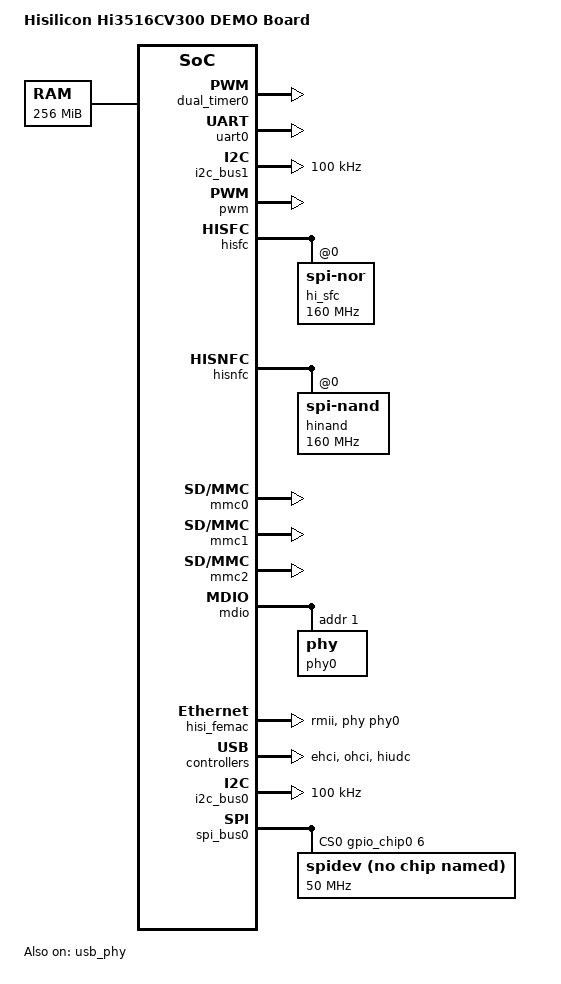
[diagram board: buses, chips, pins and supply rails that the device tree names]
/*
 * Copyright (c) 2016 HiSilicon Technologies Co., Ltd.
 *
 * This program is free software; you can redistribute  it and/or modify it
 * under  the terms of  the GNU General Public License as published by the
 * Free Software Foundation;  either version 2 of the  License, or (at your
 * option) any later version.
 *
 * This program is distributed in the hope that it will be useful,
 * but WITHOUT ANY WARRANTY; without even the implied warranty of
 * MERCHANTABILITY or FITNESS FOR A PARTICULAR PURPOSE. See the
 * GNU General Public License for more details.
 *
 * You should have received a copy of the GNU General Public License
 * along with this program.  If not, see <http://www.gnu.org/licenses/>.
 *
 */


/dts-v1/;
#include "hi3516cv300.dtsi"

/ {
	model = "Hisilicon Hi3516CV300 DEMO Board";
	compatible = "hisilicon,hi3516cv300";

	memory {
		device_type = "memory";
		reg = <0x80000000 0x10000000>;
	};
};

&dual_timer0 {
	status = "okay";
};

&uart0 {
	status = "okay";
};

&i2c_bus1 {
	status = "okay";
	clock-frequency = <100000>;
	pinctrl-names = "default";
	pinctrl-0 = <&i2c1_pmux &i2c1_pconf>;
};

&spi_bus1{
	status = "disabled";
	num-cs = <2>;
	cs-gpios = <&gpio_chip5 3 0>, <&gpio_chip5 4 0>;
	pinctrl-names = "default";
	pinctrl-0 = <&spi1_pmux &spi1_pconf1 &spi1_pconf2 &spi1_pconf3>;

	spidev@0 {
		compatible = "rohm,dh2228fv";
		reg = <0>;
		pl022,interface = <0>;
		pl022,com_mode = <0>;
		spi-max-frequency = <50000000>;
	};

	spidev@1 {
		compatible = "rohm,dh2228fv";
		reg = <1>;
		pl022,interface = <0>;
		pl022,com_mode = <0>;
		spi-max-frequency = <50000000>;
	};
};

&pwm {
	status = "okay";
	pinctrl-names = "default";
	pinctrl-0 = <&pwm_pmux>;
};

&hisfc {
	assigned-clocks = <&crg_ctrl HI3516CV300_FMC_CLK>;
	assigned-clock-rates = <24000000>;

	hi_sfc {
		compatible = "jedec,spi-nor";
		reg = <0>;
		spi-max-frequency = <160000000>;
		m25p,fast-read;
	};
};

&hisnfc {
	assigned-clocks = <&crg_ctrl HI3516CV300_FMC_CLK>;
	assigned-clock-rates = <83300000>;

	hinand {
		compatible = "jedec,spi-nand";
		reg = <0>;
		spi-max-frequency = <160000000>;
	};
};

&mmc0 {
	status = "okay";
};

&mmc1 {
	status = "okay";
};

&mmc2 {
	status = "okay";
};

&mdio {
	phy0: phy@1 {
		reg = <1>;
	};
};

&hisi_femac {
	mac-address = [00 00 00 00 00 00];
	phy-mode = "rmii";
	phy-handle = <&phy0>;
	hisilicon,phy-reset-delays-us = <10000 10000 150000>;
};

&usb_phy {
	status = "okay";
};

&ehci {
	status = "okay";
};

&ohci {
	status = "okay";
};

&hiudc {
	status = "okay";
};

&hidmac {
	status = "okay";
};

&dmac {
	status = "disabled";
};

&gpio_chip0 {
	status = "okay";
};

&gpio_chip1 {
	status = "okay";
};

&gpio_chip2 {
	status = "okay";
};

&gpio_chip3 {
	status = "okay";
};

&gpio_chip4 {
	status = "okay";
};

&gpio_chip5 {
	status = "okay";
};

&gpio_chip6 {
	status = "okay";
};

&gpio_chip7 {
	status = "okay";
};

&gpio_chip8 {
	status = "okay";
};

&pmux {
	i2c0_pmux: i2c0_pmux {
		pinctrl-single,pins = <
			0x2c 0x3	/*I2C0_SDA*/
			0x30 0x3	/*I2C0_SCL*/
		>;
	};

	i2c1_pmux: i2c1_pmux {
		pinctrl-single,pins = <
			0x20 0x1	/*I2C1_SDA*/
			0x24 0x1	/*I2C1_SCL*/
		>;
	};

	spi0_pmux: spi0_pmux {
		pinctrl-single,pins = <
			0x28 0x1	/*SPI0_SDI*/
			0x2c 0x1	/*SPI0_SDO*/
			0x30 0x1	/*SPI0_SCLK*/
			0x34 0x1	/*SPI0_CSN*/
		>;
	};

	spi1_pmux: spi1_pmux {
		pinctrl-single,pins = <
			0xc4 0x1	/*SPI1_CSN1*/
			0xc8 0x1	/*SPI1_CSN0*/
			0xcc 0x1	/*SPI1_SDO*/
			0xd0 0x1	/*SPI1_SDI*/
			0xd4 0x1	/*SPI1_SCLK*/
		>;
	};

	sensor_pmux: sensor_pmux {
		pinctrl-single,pins = <
			0x38 0x1	/*SENSOR_RSTN*/
			0x3c 0x1	/*SENSOR_CLK*/
		>;
	};

	spi_3wire_pmux: spi_3wire_pmux{
		pinctrl-single,pins = <
			0x2c 0x2	/*SPI_3LINE_SDATA*/
			0x30 0x2	/*SPI_3LINE_SCLK*/
			0x34 0x2	/*SPI_3LINE_CSN*/
		>;
	};

	vi_flash_trig_pmux: vi_flash_trig_pmux {
		pinctrl-single,pins = <
			0x1c 0x1	/*FLASH_TRIG*/
		>;
	};

	vi_shutter_trig_pmux: vi_shutter_trig_pmux {
		pinctrl-single,pins = <
			0x18 0x1	/*SHUTTER_TRIG*/
		>;
	};

	vi_bt1120_pmux: vi_bt1120_pmux{
		pinctrl-single,pins = <
			0x40 0x1	/*VI_DATA13*/
			0x44 0x1	/*VI_DATA10*/
			0x48 0x1	/*VI_DATA12*/
			0x4c 0x1	/*VI_DATA11*/
			0x50 0x1	/*VI_DATA9*/
			0x54 0x1	/*VI_DATA14*/
			0x58 0x1	/*VI_DATA15*/
			0x5c 0x1	/*VI_VS*/
			0x60 0x1	/*VI_HS*/
		>;
	};

	sensor_dc_pmux: sensor_dc_pmux{
		pinctrl-single,pins = <
			0x40 0x1	/*VI_DATA13*/
			0x44 0x1	/*VI_DATA10*/
			0x48 0x1	/*VI_DATA12*/
			0x4c 0x1	/*VI_DATA11*/
			0x50 0x1	/*VI_DATA9*/
			0x54 0x1	/*VI_DATA14*/
			0x58 0x1	/*VI_DATA15*/
			0x5c 0x1	/*VI_VS*/
			0x60 0x1	/*VI_HS*/
		>;
	};

	vo_bt656_pmux: vo_bt656_pmux{
		pinctrl-single,pins = <
			0x40 0x2	/*VOU656_CLK*/
			0x44 0x2	/*VOU656_DATA3*/
			0x48 0x2	/*VOU656_DATA7*/
			0x4c 0x2	/*VOU656_DATA2*/
			0x50 0x2	/*VOU656_DATA6*/
			0x54 0x2	/*VOU656_DATA5*/
			0x58 0x2	/*VOU656_DATA4*/
			0x5c 0x2	/*VOU656_DATA1*/
			0x60 0x2	/*VOU656_DATA0*/
		>;
	};

	vo_lcd_pmux: vo_lcd_pmux{
		pinctrl-single,pins = <
			0x40 0x3	/*LCD_CLK*/
			0x44 0x3	/*LCD_DATA1*/
			0x48 0x3	/*LCD_DATA3*/
			0x4c 0x3	/*LCD_DATA2*/
			0x50 0x3	/*LCD_DATA4*/
			0x54 0x3	/*LCD_DATA5*/
			0x58 0x3	/*LCD_DATA0*/
			0x5c 0x3	/*LCD_HSYNC*/
			0x60 0x3	/*LCD_VSYNC*/
			0x64 0x3	/*LCD_DE*/
		>;
	};

	i2s_with_jtag_pmux: i2s_with_jtag_pmux{
		pinctrl-single,pins = <
			0xc4 0x4	/*I2S_SD_TX*/
			0xc8 0x4	/*I2S_WS_TX*/
			0xcc 0x4	/*I2S_BCLK_TX*/
			0xd0 0x4	/*I2S_MCLK*/
			0xd4 0x4	/*I2S_SD_RX*/
		>;
	};

	i2s_with_vi_pmux: i2s_with_vi_pmux{
		pinctrl-single,pins = <
			0x40 0x4	/*I2S_MCLK*/
			0x44 0x4	/*I2S_SD_TX*/
			0x48 0x4	/*I2S_BCLK_TX*/
			0x4c 0x4	/*I2S_WS_TX*/
			0x58 0x4	/*I2S_SD_RX*/
		>;
	};

	pwm_pmux: pwm_pmux{
		pinctrl-single,pins = <
			0x04 0x1
			0x08 0x1
			0x0c 0x1
		>;
	};
};

&pconf {
	i2c0_pconf: i2c0_pconf {
		pinctrl-single,pins = <
			0x2c 0
			0x30 0
		>;
		pinctrl-single,drive-strength = <0x70 0xff>;
	};

	i2c1_pconf: i2c1_pconf {
		pinctrl-single,pins = <
			0x20 0
			0x24 0
		>;
		pinctrl-single,drive-strength = <0x30 0xff>;
	};

	/*spi0 drive strength conf 1~3*/
	spi0_pconf1: spi0_pconf1 {
		pinctrl-single,pins = <
			0x28 0
			0x2c 0
		>;
		pinctrl-single,drive-strength = <0x20 0xff>;
	};

	spi0_pconf2: spi0_pconf2 {
		pinctrl-single,pins = <
			0x30 0
		>;
		pinctrl-single,drive-strength = <0x50 0xff>;
	};

	spi0_pconf3: spi0_pconf3 {
		pinctrl-single,pins = <
			0x34 0
		>;
		pinctrl-single,drive-strength = <0x30 0xff>;
	};

	/*spi1 drive strength conf 1~3*/
	spi1_pconf1: spi1_pconf1 {
		pinctrl-single,pins = <
			0xe4 0
			0xe8 0
		>;
		pinctrl-single,drive-strength = <0x30 0xff>;
	};

	spi1_pconf2: spi1_pconf2 {
		pinctrl-single,pins = <
			0xec 0
			0xf0 0
		>;
		pinctrl-single,drive-strength = <0x20 0xff>;
	};

	spi1_pconf3: spi1_pconf3 {
		pinctrl-single,pins = <
			0xf4 0
		>;
		pinctrl-single,drive-strength = <0x0 0xff>;
	};

	spi_3wire_pconf: spi_3wire_pconf{
		pinctrl-single,pins = <
			0x2c 0
			0x30 0
			0x34 0
		>;
		pinctrl-single,drive-strength = <0x70 0xff>;
	};

	sensor_pconf1: sensor_pconf1 {
		pinctrl-single,pins = <
			0x38 0
		>;
		pinctrl-single,drive-strength = <0x31 0xff>;
	};

	sensor_pconf2: sensor_pconf2 {
		pinctrl-single,pins = <
			0x3c 0
		>;
		pinctrl-single,drive-strength = <0x20 0xff>;
	};

	vi_bt1120_pconf: vi_bt1120_pconf {
		pinctrl-single,pins = <
			0x40 0
			0x44 0
			0x48 0
			0x4c 0
			0x50 0
			0x54 0
			0x58 0
			0x5c 0
			0x60 0
		>;
		pinctrl-single,drive-strength = <0x70 0xff>;
	};

	sensor_dc_pconf: sensor_dc_pconf {
		pinctrl-single,pins = <
			0x40 0
			0x44 0
			0x48 0
			0x4c 0
			0x50 0
			0x54 0
			0x58 0
			0x5c 0
			0x60 0
		>;
		pinctrl-single,drive-strength = <0x70 0xff>;
	};

	vo_bt656_pconf1: vo_bt656_pconf1 {
		pinctrl-single,pins = <
			0x40 0
		>;
		pinctrl-single,drive-strength = <0x40 0xff>;
	};

	vo_bt656_pconf2: vo_bt656_pconf2 {
		pinctrl-single,pins = <
			0x44 0
			0x48 0
			0x4c 0
			0x50 0
			0x54 0
			0x58 0
			0x5c 0
			0x60 0
		>;
		pinctrl-single,drive-strength = <0x20 0xff>;
	};

	vo_lcd_pconf1: vo_lcd_pconf1 {
		pinctrl-single,pins = <
			0x40 0
		>;
		pinctrl-single,drive-strength = <0x40 0xff>;
	};

	vo_lcd_pconf2: vo_lcd_pconf2 {
		pinctrl-single,pins = <
			0x44 0
			0x48 0
			0x4c 0
			0x50 0
			0x54 0
			0x58 0
			0x5c 0
			0x60 0
			0x64 0
		>;
		pinctrl-single,drive-strength = <0x10 0xff>;
	};

	i2s_with_jtag_pconf: i2s_with_jtag_pconf{
		pinctrl-single,pins = <
			0xe4 0
			0xe8 0
			0xec 0
			0xf0 0
			0xf4 0
		>;
		pinctrl-single,drive-strength = <0x30 0xff>;
	};

	i2s_with_vi_pconf: i2s_with_vi_pconf{
		pinctrl-single,pins = <
			0x40 0
			0x44 0
			0x48 0
			0x4c 0
			0x58 0
		>;
		pinctrl-single,drive-strength = <0x70 0xff>;
	};
};

&i2c_bus0 {
	status = "okay";
	clock-frequency = <100000>;
};

&spi_bus0{
	status = "okay";
	num-cs = <1>;
	cs-gpios = <&gpio_chip0 6 0>;

	spidev@0 {
		compatible = "rohm,dh2228fv";
		reg = <0>;
		pl022,interface = <0>;
		pl022,com_mode = <0>;
		spi-max-frequency = <50000000>;
	};
};

&sensor_device0 {
	pinctrl-names = "i2c_mipi", "ssp_mipi", "i2c_dc", "ssp_dc", "sleep";
	pinctrl-0 = <&sensor_pmux &sensor_pconf1 &sensor_pconf2 &i2c0_pmux &i2c0_pconf>;
	pinctrl-1 = <&sensor_pmux &sensor_pconf1 &sensor_pconf2 &spi0_pmux &spi0_pconf1 &spi0_pconf2 &spi0_pconf3>;
	pinctrl-2 = <&sensor_pmux &sensor_pconf1 &sensor_pconf2 &i2c0_pmux &i2c0_pconf &sensor_dc_pmux &sensor_dc_pconf>;
	pinctrl-3 = <&sensor_pmux &sensor_pconf1 &sensor_pconf2 &spi0_pmux &spi0_pconf1 &spi0_pconf2 &spi0_pconf3 &sensor_dc_pmux &sensor_dc_pconf>;
	pinctrl-4 = <&sensor_pmux &sensor_pconf1 &sensor_pconf2>;
};

&viu {
	pinctrl-names = "default", "bt1120", "sleep";
	pinctrl-0 = <&vi_flash_trig_pmux &vi_shutter_trig_pmux>;
	pinctrl-1 = <&vi_flash_trig_pmux &vi_shutter_trig_pmux &vi_bt1120_pmux &vi_bt1120_pconf>;
	pinctrl-2 = <&vi_flash_trig_pmux &vi_shutter_trig_pmux>;
};

&vou {
	pinctrl-names = "bt656", "lcd", "sleep", "default";
	pinctrl-0 = <&vo_bt656_pmux &vo_bt656_pconf1 &vo_bt656_pconf2>;
	pinctrl-1 = <&vo_lcd_pmux &vo_lcd_pconf1 &vo_lcd_pconf2>;
	pinctrl-2 = <>;
	pinctrl-3 = <>;
};

/*
&audio {
	pinctrl-names = "default";
	pinctrl-0 = <&i2s_with_jtag_pmux &i2s_with_jtag_pconf>;
};
*/

&pin_ctrl_online {
	pinctrl-single,pins = <
		0x12030000 0x00000080
		0x12030044 0x66664111
		0x12030048 0x66666013
		0x1203004c 0x65266666
		0x12030050 0x00000011
		0x12030054 0x00000110
		0x12030058 0x00000000
		0x12060204 0x1f>;
};

&pin_ctrl_offline {
	pinctrl-single,pins = <
		0x12030000 0x00000000
		0x12030044 0x66666111
		0x12030048 0x66666023
		0x1203004c 0x65266666
		0x12030050 0x00000011
		0x12030054 0x00000100
		0x12030058 0x00000000
		0x12060204 0x2>;
};

&pin_ctrl_ddr {
	pinctrl-single,pins = <
		0x120600c0 0x76543210
		0x120600c4 0x76543210
		0x120600c8 0x76543210
		0x120600cc 0x76543210
		0x120600d0 0x76543210
		0x120600d4 0x76543210
		0x12060100 0x76543210
		0x12060104 0x76543210
		0x12060108 0x76543210
		0x1206010c 0x76543210
		0x12060110 0x76543210
		0x12060114 0x76543210
		0x12060140 0x00000000
		0x12060144 0x00000000
		0x12060148 0x00000000
		0x1206014c 0x00000000
		0x12060150 0x00000000
		0x12060154 0x00000000
		0x12060180 0x00004000
		0x12060184 0x00004000
		0x12060188 0x00000000
		0x1206018c 0x00000000
		0x12060190 0x00000100
		0x12060194 0x00000000
		0x12060200 0x1f
		0x12060208 0x2
		0x1206020c 0x2
		0x12060214 0x3
		0x12060240 0xb
		0x12060244 0xcff
		0x12060040 0x81001000
		0x12060044 0x81001000
		0x12060048 0x81001000
		0x1206004c 0x81001000
		0x12060050 0x81001000
		0x12060054 0x81001000
		0x120614bc 0x101
		0x113200E0 0xd
	>;
};

&user_pinmux {
	pinctrl-single,pins = <
	>;
};
